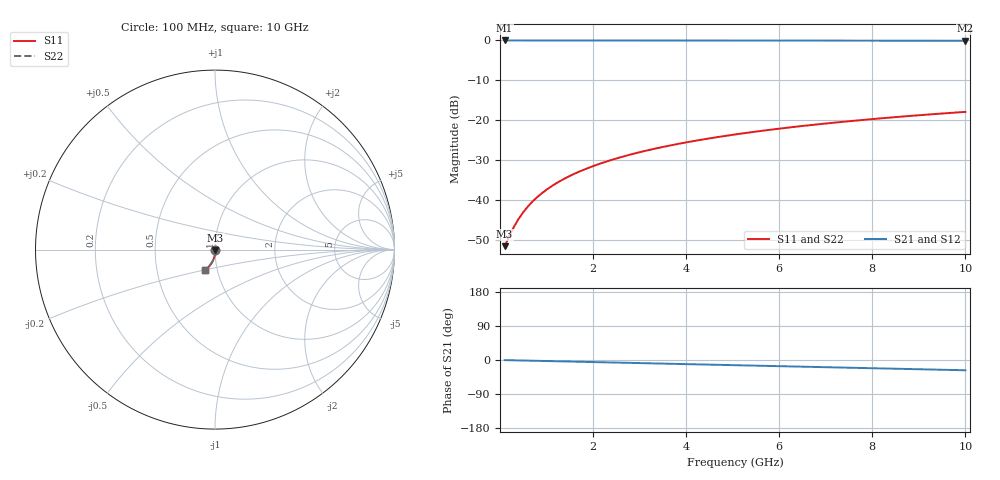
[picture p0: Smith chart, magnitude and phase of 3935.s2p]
# Hz S RI R 50.00
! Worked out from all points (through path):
!   100 points, 100 MHz to 10 GHz, reference 50 ohm
!   highest |S21| = -0.02 dB at 100 MHz (marker M1); lowest = -0.1 dB at 10 GHz (marker M2)
!   group delay of S21, straight-line fit = 7.52 ps
!   lowest |S11| = -51.7 dB at 100 MHz (marker M3), VSWR 1.01, Z = 50.2 - j0.133 ohm
!   |S11| at or under -10 dB: start of sweep to end of sweep
!   |S22| runs from -51.7 to -17.9 dB; largest |S21 - S12| = 0
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1e8  0.00225 -0.00133  0.9977 -0.00473  0.9977 -0.00473  0.00225 -0.00133
2e8  0.00224 -0.00265  0.9977 -0.00946  0.9977 -0.00946  0.00224 -0.00265
3e8  0.00222 -0.00398  0.9976 -0.0142  0.9976 -0.0142  0.00222 -0.00398
4e8  0.00218 -0.00531  0.9975 -0.0189  0.9975 -0.0189  0.00218 -0.00531
5e8  0.00213 -0.00663  0.9974 -0.0236  0.9974 -0.0236  0.00213 -0.00663
6e8  0.00207 -0.00796  0.9972 -0.0284  0.9972 -0.0284  0.00207 -0.00796
7e8  0.00199 -0.00929  0.9971 -0.0331  0.9971 -0.0331  0.00199 -0.00929
9e8  0.00179 -0.0119  0.9967 -0.0425  0.9967 -0.0425  0.00179 -0.0119
1e9  0.00168 -0.0133  0.9964 -0.0473  0.9964 -0.0473  0.00168 -0.0133
1.2e9  0.00141 -0.0159  0.9959 -0.0567  0.9959 -0.0567  0.00141 -0.0159
1.5e9  0.000903 -0.0198  0.9949 -0.0709  0.9949 -0.0709  0.000903 -0.0198
1.8e9  0.000288 -0.0238  0.9937 -0.085  0.9937 -0.085  0.000288 -0.0238
2.1e9  -0.00044 -0.0277  0.9922 -0.0991  0.9922 -0.0991  -0.00044 -0.0277
2.5e9  -0.00158 -0.0329  0.99 -0.1179  0.99 -0.1179  -0.00158 -0.0329
2.9e9  -0.00292 -0.038  0.9874 -0.1366  0.9874 -0.1366  -0.00292 -0.038
3.4e9  -0.00487 -0.0444  0.9836 -0.1599  0.9836 -0.1599  -0.00487 -0.0444
4.2e9  -0.00859 -0.0543  0.9762 -0.1969  0.9762 -0.1969  -0.00859 -0.0543
5.1e9  -0.0137 -0.0651  0.9662 -0.2381  0.9662 -0.2381  -0.0137 -0.0651
5.9e9  -0.0189 -0.0743  0.9558 -0.2743  0.9558 -0.2743  -0.0189 -0.0743
6.7e9  -0.0249 -0.0831  0.9439 -0.3099  0.9439 -0.3099  -0.0249 -0.0831
8.4e9  -0.0395 -0.1001  0.9141 -0.3837  0.9141 -0.3837  -0.0395 -0.1001
1e10  -0.0556 -0.1138  0.8805 -0.4502  0.8805 -0.4502  -0.0556 -0.1138
